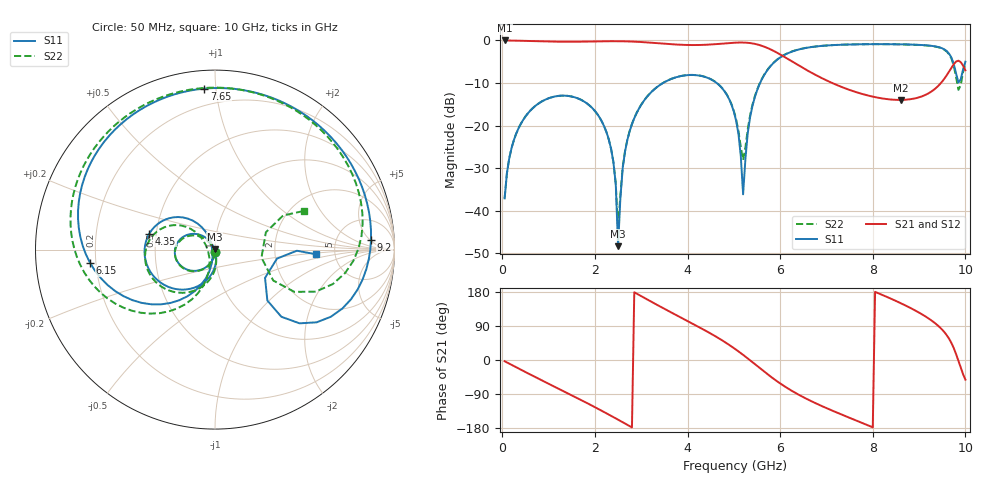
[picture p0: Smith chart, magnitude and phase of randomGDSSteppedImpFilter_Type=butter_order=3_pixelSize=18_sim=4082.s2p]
! freq	dB(S11)	phase(S11)	dB(S12)	phase(S12)
!  dB(S21)	phase(S21)	dB(S22)	phase(S22)
!S-par simulation data
#  GHz  S  DB  R 50
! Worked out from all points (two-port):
!   200 points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, 50 MHz to 10 GHz, reference 50 ohm
!   highest |S21| = -0.02 dB at 50 MHz (marker M1); lowest = -14.0 dB at 8.6 GHz (marker M2)
!   |S21| within 3 dB of the highest: start of sweep to 5.954 GHz
!   lowest |S11| = -48.3 dB at 2.5 GHz (marker M3), VSWR 1.01, Z = 49.7 + j0.266 ohm
!   |S11| at or under -10 dB: start of sweep to 3.471 GHz; 4.629 GHz to 5.567 GHz (938.1 MHz wide, 18.4 % of centre)
!   |S22| runs from -44.2 to -0.9 dB; largest |S21 - S12| = 0
!   S11 on the Smith chart (normalised r, x): 50 MHz: 1.00, -0.03; 4.35 GHz: 0.46, +0.09; 6.15 GHz: 0.18, -0.05; 7.65 GHz: 0.10, +0.93; 9.2 GHz: 12, +5; 10 GHz: 3.54, -0.27
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0.05  -37.08 -87.8  -0.02 -3.2  -0.02 -3.2  -37.08 -87.7
0.55  -17.15 -125.5  -0.14 -34.9  -0.14 -34.9  -17.15 -124.6
1.75  -14.23 159.5  -0.30 -108.6  -0.30 -108.6  -14.24 163.0
2.35  -25.48 121.7  -0.19 -147.4  -0.19 -147.4  -25.49 129.2
2.45  -33.74 118.0  -0.19 -154.1  -0.19 -154.1  -33.61 132.0
2.5  -48.28 136.1  -0.19 -157.5  -0.19 -157.5  -44.17 173.4
2.6  -29.98 -80.3  -0.21 -164.2  -0.21 -164.2  -29.78 -82.6
2.7  -23.39 -85.5  -0.24 -171.1  -0.24 -171.1  -23.32 -84.2
3.4  -10.49 -132.0  -0.70 141.7  -0.70 141.7  -10.47 -126.5
4.35  -8.48 166.4  -1.05 80.1  -1.05 80.1  -8.47 175.4
5.05  -18.88 117.9  -0.52 27.1  -0.52 27.1  -18.56 137.9
5.2  -36.13 177.1  -0.51 13.6  -0.51 13.6  -28.08 -166.1
5.45  -13.43 -111.7  -0.81 -10.5  -0.81 -10.5  -13.24 -108.4
6.15  -3.09 -174.0  -4.25 -73.8  -4.25 -73.8  -3.06 -163.0
6.7  -1.53 147.7  -7.73 -110.3  -7.73 -110.3  -1.51 161.5
7.65  -0.93 93.9  -12.18 -160.1  -12.18 -160.1  -0.93 112.0
8.35  -0.89 55.4  -13.83 164.1  -13.83 164.1  -0.90 76.1
8.6  -0.92 41.1  -13.97 150.2  -13.97 150.2  -0.94 62.5
9.2  -1.20 3.6  -12.44 110.0  -12.44 110.0  -1.23 25.3
9.7  -4.09 -41.1  -6.39 44.5  -6.39 44.5  -4.33 -22.7
9.85  -9.89 -29.5  -4.77 -2.6  -4.77 -2.6  -11.61 -9.8
10  -5.01 -2.6  -7.02 -51.8  -7.02 -51.8  -5.34 23.5
